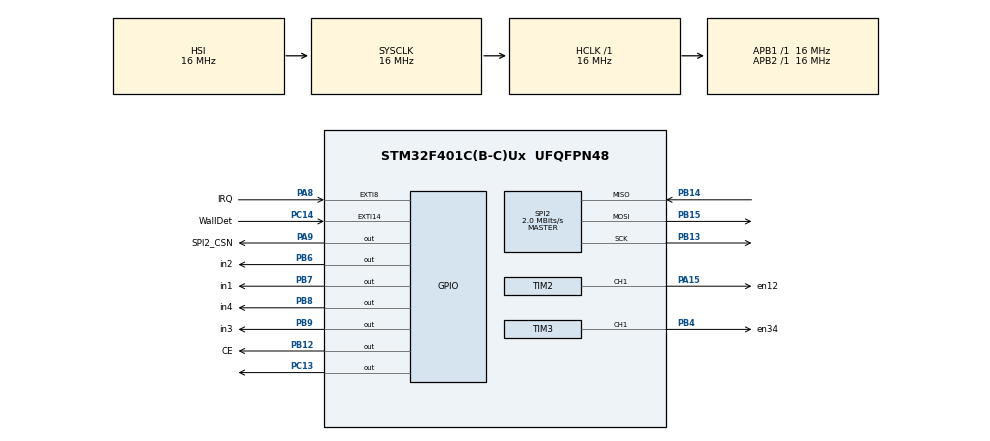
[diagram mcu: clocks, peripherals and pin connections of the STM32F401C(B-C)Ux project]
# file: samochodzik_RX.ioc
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Mcu.Family=STM32F4
Mcu.Name=STM32F401C(B-C)Ux
Mcu.Package=UFQFPN48
NVIC.EXTI15_10_IRQn=true\:0\:0\:false\:false\:true\:true\:true\:true
NVIC.EXTI9_5_IRQn=true\:0\:0\:false\:false\:true\:true\:true\:true
NVIC.PriorityGroup=NVIC_PRIORITYGROUP_4
NVIC.TIM5_IRQn=true\:0\:0\:false\:false\:true\:true\:true\:true
PA15.GPIO_Label=en12
PA15.Signal=S_TIM2_CH1_ETR
PA8.GPIO_Label=IRQ
PA8.GPIO_ModeDefaultEXTI=GPIO_MODE_IT_FALLING
PA8.GPIO_PuPd=GPIO_NOPULL
PA8.Signal=GPXTI8
PA9.GPIO_Label=SPI2_CSN
PA9.Signal=GPIO_Output
PB12.GPIO_Label=CE
PB12.GPIO_Speed=GPIO_SPEED_FREQ_HIGH
PB12.Signal=GPIO_Output
PB13.Mode=Full_Duplex_Master
PB13.Signal=SPI2_SCK
PB14.Mode=Full_Duplex_Master
PB14.Signal=SPI2_MISO
PB15.Mode=Full_Duplex_Master
PB15.Signal=SPI2_MOSI
PB4.GPIO_Label=en34
PB4.Signal=S_TIM3_CH1
PB6.GPIO_Label=in2
PB6.Signal=GPIO_Output
PB7.GPIO_Label=in1
PB7.Signal=GPIO_Output
PB8.GPIO_Label=in4
PB8.Signal=GPIO_Output
PB9.GPIO_Label=in3
PB9.Signal=GPIO_Output
PC13-ANTI_TAMP.Signal=GPIO_Output
PC14-OSC32_IN.GPIO_Label=WallDet
PC14-OSC32_IN.GPIO_ModeDefaultEXTI=GPIO_MODE_IT_RISING_FALLING
PC14-OSC32_IN.Signal=GPXTI14
ProjectManager.HeapSize=0x200
ProjectManager.StackSize=0x400
ProjectManager.TargetToolchain=STM32CubeIDE
RCC.AHBFreq_Value=16000000
RCC.APB1Freq_Value=16000000
RCC.APB2Freq_Value=16000000
RCC.CortexFreq_Value=16000000
RCC.HSE_VALUE=25000000
RCC.HSI_VALUE=16000000
RCC.LSE_VALUE=32768
RCC.SYSCLKFreq_VALUE=16000000
RCC.VCOOutputFreq_Value=192000000
SH.S_TIM2_CH1_ETR.0=TIM2_CH1,PWM Generation1 CH1
SH.S_TIM3_CH1.0=TIM3_CH1,PWM Generation1 CH1
SPI2.BaudRatePrescaler=SPI_BAUDRATEPRESCALER_8
SPI2.CalculateBaudRate=2.0 MBits/s
SPI2.Direction=SPI_DIRECTION_2LINES
SPI2.Mode=SPI_MODE_MASTER
SPI2.VirtualType=VM_MASTER
TIM2.Channel-PWM\ Generation1\ CH1=TIM_CHANNEL_1
TIM2.Period=1000-1
TIM2.Prescaler=16-1
TIM2.Pulse-PWM\ Generation1\ CH1=500
TIM3.Channel-PWM\ Generation1\ CH1=TIM_CHANNEL_1
TIM3.Period=1000-1
TIM3.Prescaler=16-1
TIM3.Pulse-PWM\ Generation1\ CH1=500
TIM5.Period=100-1
TIM5.Prescaler=16000-1
VP_TIM2_VS_ClockSourceINT.Mode=Internal
VP_TIM3_VS_ClockSourceINT.Mode=Internal
VP_TIM5_VS_ClockSourceINT.Mode=Internal
board=custom

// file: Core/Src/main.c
/* USER CODE BEGIN Header */
/**
  ******************************************************************************
  * @file           : main.c
  * @brief          : Main program body
  ******************************************************************************
  * @attention
  *
  * Copyright (c) 2022 STMicroelectronics.
  * All rights reserved.
  *
  * This software is licensed under terms that can be found in the LICENSE file
  * in the root directory of this software component.
  * If no LICENSE file comes with this software, it is provided AS-IS.
  *
  ******************************************************************************
  */
/* USER CODE END Header */
#include "main.h"
#include "spi.h"
#include "tim.h"
#include "gpio.h"

/* USER CODE BEGIN Includes */
#include "nrf24l01p.h"
/* USER CODE END Includes */

void SystemClock_Config(void);
/* USER CODE BEGIN PFP */

void HAL_GPIO_EXTI_Callback(uint16_t GPIO_Pin);
void TuneEngine();
void StepBack();

/* USER CODE END PFP */

/* USER CODE BEGIN 0 */

uint8_t rx_data[NRF24L01P_PAYLOAD_LENGTH] = {0};
uint8_t wallFlag = 0;
int lastComm = 0;

/* USER CODE END 0 */

int main(void)
{

  /* MCU Configuration--------------------------------------------------------*/

  /* Reset of all peripherals, Initializes the Flash interface and the Systick. */
  HAL_Init();

  /* Configure the system clock */
  SystemClock_Config();

  /* Initialize all configured peripherals */
  MX_GPIO_Init();
  MX_SPI2_Init();
  MX_TIM2_Init();
  MX_TIM3_Init();
  MX_TIM5_Init();
  /* USER CODE BEGIN 2 */

  HAL_TIM_Base_Start_IT(&htim5);

  nrf24l01p_rx_init(2500, _1Mbps);

  /* USER CODE END 2 */

  /* Infinite loop */
  while (1)
  {

  }
}

void SystemClock_Config(void)
{
  RCC_OscInitTypeDef RCC_OscInitStruct = {0};
  RCC_ClkInitTypeDef RCC_ClkInitStruct = {0};

  /** Configure the main internal regulator output voltage
  */
  __HAL_RCC_PWR_CLK_ENABLE();
  __HAL_PWR_VOLTAGESCALING_CONFIG(PWR_REGULATOR_VOLTAGE_SCALE2);

  /** Initializes the RCC Oscillators according to the specified parameters
  * in the RCC_OscInitTypeDef structure.
  */
  RCC_OscInitStruct.OscillatorType = RCC_OSCILLATORTYPE_HSI;
  RCC_OscInitStruct.HSIState = RCC_HSI_ON;
  RCC_OscInitStruct.HSICalibrationValue = RCC_HSICALIBRATION_DEFAULT;
  RCC_OscInitStruct.PLL.PLLState = RCC_PLL_NONE;
  if (HAL_RCC_OscConfig(&RCC_OscInitStruct) != HAL_OK)
  {
    Error_Handler();
  }

  /** Initializes the CPU, AHB and APB buses clocks
  */
  RCC_ClkInitStruct.ClockType = RCC_CLOCKTYPE_HCLK|RCC_CLOCKTYPE_SYSCLK
                              |RCC_CLOCKTYPE_PCLK1|RCC_CLOCKTYPE_PCLK2;
  RCC_ClkInitStruct.SYSCLKSource = RCC_SYSCLKSOURCE_HSI;
  RCC_ClkInitStruct.AHBCLKDivider = RCC_SYSCLK_DIV1;
  RCC_ClkInitStruct.APB1CLKDivider = RCC_HCLK_DIV1;
  RCC_ClkInitStruct.APB2CLKDivider = RCC_HCLK_DIV1;

  if (HAL_RCC_ClockConfig(&RCC_ClkInitStruct, FLASH_LATENCY_0) != HAL_OK)
  {
    Error_Handler();
  }
}

/* USER CODE BEGIN 4 */
void HAL_GPIO_EXTI_Callback(uint16_t GPIO_Pin)
{
	if(GPIO_Pin == NRF24L01P_IRQ_PIN_NUMBER)
		nrf24l01p_rx_receive(rx_data); // read data when data ready flag is set
}

void TuneEngine()
{
	if (rx_data[0] < 6 && lastComm != rx_data[0] && ! wallFlag)
	{
		TIM2->CCR1 = 0;
		TIM3->CCR1 = 0;

		HAL_GPIO_WritePin(GPIOB, in1_Pin, SET);
		HAL_GPIO_WritePin(GPIOB, in2_Pin, RESET);

		HAL_GPIO_WritePin(GPIOB, in3_Pin, SET);
		HAL_GPIO_WritePin(GPIOB, in4_Pin, RESET);

		lastComm = rx_data[0];
	}

	else if ((rx_data[0] > 5 && lastComm != rx_data[0]) || wallFlag)
	{
		TIM2->CCR1 = 0;
		TIM3->CCR1 = 0;

		HAL_GPIO_WritePin(GPIOB, in2_Pin, SET);
		HAL_GPIO_WritePin(GPIOB, in1_Pin, RESET);

		HAL_GPIO_WritePin(GPIOB, in4_Pin, SET);
		HAL_GPIO_WritePin(GPIOB, in3_Pin, RESET);

		lastComm = rx_data[0];
		if (wallFlag)
		{
			lastComm = 0;
		}
	}

	if (rx_data[0] == 0 && ! wallFlag)
	{
		TIM2->CCR1 = 0;
		TIM3->CCR1 = 0;
	}
	else if (rx_data[0] == 1 || wallFlag)
	{
		TIM2->CCR1 = 1000;
		TIM3->CCR1 = 1000;
	}
	else if (rx_data[0] == 2)
	{
		TIM2->CCR1 = 1000;
		TIM3->CCR1 = 0;
	}
	else if (rx_data[0] == 3)
	{
		TIM2->CCR1 = 1000;
		TIM3->CCR1 = 750;
	}
	else if (rx_data[0] == 4)
	{
		TIM2->CCR1 = 0;
		TIM3->CCR1 = 1000;
	}
	else if (rx_data[0] == 5)
	{
		TIM2->CCR1 = 750;
		TIM3->CCR1 = 1000;
	}
	else if (rx_data[0] == 6)
	{
		TIM2->CCR1 = 1000;
		TIM3->CCR1 = 1000;
	}
	else if (rx_data[0] == 7)
	{
		TIM2->CCR1 = 1000;
		TIM3->CCR1 = 750;
	}
	else if (rx_data[0] == 8)
	{
		TIM2->CCR1 = 750;
		TIM3->CCR1 = 1000;
	}

	HAL_TIM_PWM_Start(&htim2, TIM_CHANNEL_1);
	HAL_TIM_PWM_Start(&htim3, TIM_CHANNEL_1);
}

void StepBack()
{
	lastComm = 0;

	TIM2->CCR1 = 0;
	TIM3->CCR1 = 0;

	HAL_GPIO_WritePin(GPIOB, in2_Pin, SET);
	HAL_GPIO_WritePin(GPIOB, in1_Pin, RESET);

	HAL_GPIO_WritePin(GPIOB, in4_Pin, SET);
	HAL_GPIO_WritePin(GPIOB, in3_Pin, RESET);

	TIM2->CCR1 = 1000;
	TIM3->CCR1 = 1000;

	HAL_TIM_PWM_Start(&htim2, TIM_CHANNEL_1);
	HAL_TIM_PWM_Start(&htim3, TIM_CHANNEL_1);
}
/* USER CODE END 4 */

void Error_Handler(void)
{
  __disable_irq();
  while (1)
  {
  }
}
